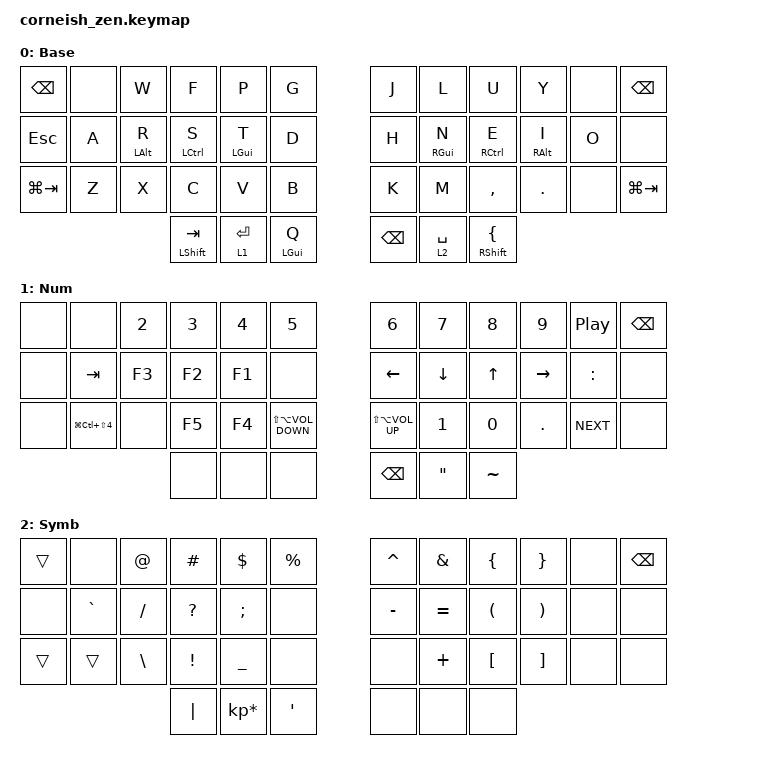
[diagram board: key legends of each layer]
#include <behaviors.dtsi>
#include <dt-bindings/zmk/keys.h>
#include <dt-bindings/zmk/bt.h>

/ {
    chosen {
        zmk,matrix_transform = &default_transform;
    };
};

/ {
    behaviors {
        hm: homerow_mods {
            compatible = "zmk,behavior-hold-tap";
            #binding-cells = <2>;
            tapping-term-ms = <190>;
            quick-tap-ms = <0>;
            flavor = "tap-preferred";
            bindings = <&kp>, <&kp>;
        };
    };

    // Format Guide
    // - Each half is 6 columns and 4 rows (last row is 3 columns)
    // - Every column should be aligned vertically 
    // - There must be space between the halfs to distinguish which half is which
    keymap {
        compatible = "zmk,keymap";

        default_layer {
            label = "Base";
            bindings = <
                &kp BSPC    &none &kp W      &kp F        &kp P          &kp G        &kp J        &kp L        &kp U        &kp Y        &none     &kp BSPC
                &kp ESC     &kp A &hm LALT R &hm LCTRL S  &hm LGUI T     &kp D        &kp H        &hm RGUI N   &hm RCTRL E  &hm RALT I   &kp O     &none
                &kp LG(TAB) &kp Z &kp X      &kp C        &kp V          &kp B        &kp K        &kp M        &kp COMMA    &kp DOT      &none     &kp LG(TAB)
                                    &mt LSHFT TAB &lt 1 ENTER  &hm LGUI Q          &kp BSPC    &lt 2 SPACE  &mt RSHFT LBRC
            >;
        };

        num_layer {
            label = "Num";
            bindings = <
                &none  &none                     &kp N2  &kp N3  &kp N4  &kp N5                     &kp N6                   &kp N7    &kp N8    &kp N9    &kp C_PLAY_PAUSE  &kp BSPC
                &none  &kp TAB                   &kp F3  &kp F2  &kp F1  &none                      &kp LEFT                 &kp DOWN  &kp UP    &kp RIGHT &kp COLON         &none
                &none  &kp LG(LC(LS(NUMBER_4)))  &none   &kp F5  &kp F4  &kp LS(LA(C_VOLUME_DOWN))  &kp LS(LA(C_VOLUME_UP))  &kp N1    &kp N0    &kp DOT   &kp C_NEXT        &none
                                                 &none   &none   &none                              &kp BSPC &kp DQT &kp TILDE
            >;
        };

        symb_layer {
            label = "Symb";
            bindings = <
                &trans  &none      &kp AT    &kp HASH  &kp DLLR   &kp PRCNT      &kp CARET  &kp AMPS       &kp LBRC  &kp RBRC  &none  &kp BSPC
                &none   &kp GRAVE  &kp FSLH  &kp QMARK &kp SEMI   &none          &kp MINUS  &kp EQUAL      &kp LPAR  &kp RPAR  &none  &none
                &trans  &trans     &kp BSLH  &kp EXCL  &kp UNDER  &none          &none      &kp PLUS       &kp LBKT  &kp RBKT  &none  &none
                                  &kp PIPE  &kp KP_MULTIPLY      &kp SQT          &none      &none          &none
            >;
        };
    };
};
